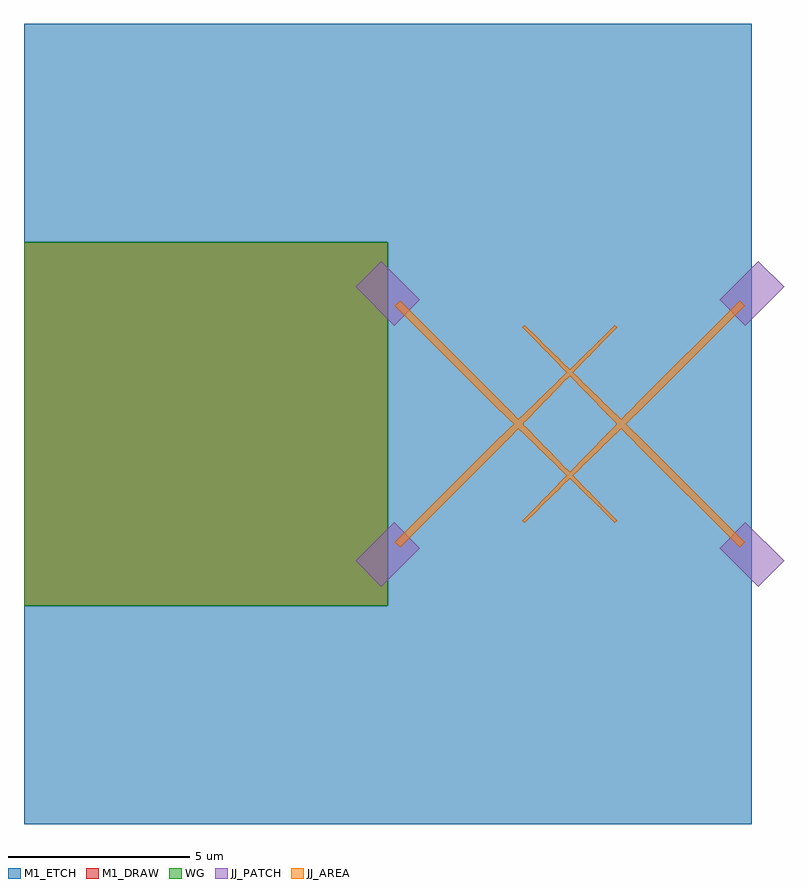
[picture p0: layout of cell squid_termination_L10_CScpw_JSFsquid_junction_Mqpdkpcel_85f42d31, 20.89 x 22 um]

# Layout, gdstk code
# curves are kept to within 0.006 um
from math import pi, radians
import gdstk
lib = gdstk.Library(unit=1e-6, precision=1e-09)
def R(c, l, rs):  # rectangles x0, y0, x1, y1
    for r in rs: c.add(gdstk.rectangle(r[:2], r[2:], *l))
def P(c, l, *ps):  # polygons
    for p in ps: c.add(gdstk.Polygon(p, *l))
M1_DRAW = (1, 0)
M1_ETCH = (1, 1)
JJ_AREA = (20, 0)
JJ_PATCH = (20, 1)
WG = (102, 0)

straight_l10_cscpw_n2 = lib.new_cell('straight_L10_CScpw_N2')
R(straight_l10_cscpw_n2, M1_DRAW, [(0,-5,10,5)])
R(straight_l10_cscpw_n2, M1_ETCH, [(0,-11,10,-5), (0,5,10,11)])
R(straight_l10_cscpw_n2, WG, [(0,-5,10,5)])

straight_l4_csjosephson_ = lib.new_cell('straight_L4_CSjosephson_junction_cross_section_wide_N2')
R(straight_l4_csjosephson_, JJ_AREA, [(0,-0.1,4,0.1)])

taper_cross_section_gdsf = lib.new_cell('taper_cross_section_gdsfactorypcomponentsptapersptaper__1178b345')
P(taper_cross_section_gdsf, JJ_AREA, [(0,-0.1),(0,0.1),(4,0.045),(4,-0.045)])

straight_l0p5_csjosephso = lib.new_cell('straight_L0p5_CSjosephson_junction_cross_section_narrow_N2')
R(straight_l0p5_csjosephso, JJ_AREA, [(0,-0.045,0.5,0.045)])

rectangle_gdsfactorypcom = lib.new_cell('rectangle_gdsfactorypcomponentspshapesprectangle_S1p5_1_4f32cade')
R(rectangle_gdsfactorypcom, JJ_PATCH, [(-0.75,-0.5,0.75,0.5)])

single_josephson_junctio = lib.new_cell('single_josephson_junction_wire_WSL4_NSL0p5_TL4_CSWjosep_de02b853')
single_josephson_junctio.add(gdstk.Reference(straight_l4_csjosephson_, (0,0)))
single_josephson_junctio.add(gdstk.Reference(taper_cross_section_gdsf, (4,0)))
single_josephson_junctio.add(gdstk.Reference(straight_l0p5_csjosephso, (8,0)))
single_josephson_junctio.add(gdstk.Reference(rectangle_gdsfactorypcom, (-0.375,0)))

josephson_junction_jod1p = lib.new_cell('josephson_junction_JOD1p8_WSL4_NSL0p5_TL4_CSWjosephson__0ce5f586')
josephson_junction_jod1p.add(gdstk.Reference(single_josephson_junctio, (8.5,-6.7), rotation=pi/2))
josephson_junction_jod1p.add(gdstk.Reference(single_josephson_junctio, (1.8,0)))

squid_junction_jsfjoseph = lib.new_cell('squid_junction_JSFjosephson_junction_Mqpdkpcellspjuncti_ae4fe4db')
squid_junction_jsfjoseph.add(gdstk.Reference(josephson_junction_jod1p, (0,0)))
squid_junction_jsfjoseph.add(gdstk.Reference(josephson_junction_jod1p, (15,-2), rotation=pi))

c_rectangle_gdsfactorypcom = lib.new_cell('rectangle_gdsfactorypcomponentspshapesprectangle_S10p00_77eda7ea')
R(c_rectangle_gdsfactorypcom, M1_ETCH, [(0,0,10.006,22)])

squid_termination_l10_cs = lib.new_cell('squid_termination_L10_CScpw_JSFsquid_junction_Mqpdkpcel_85f42d31')
squid_termination_l10_cs.add(gdstk.Reference(straight_l10_cscpw_n2, (0,0)))
squid_termination_l10_cs.add(gdstk.Reference(squid_junction_jsfjoseph, (8.992,-4.596), rotation=radians(45)))
squid_termination_l10_cs.add(gdstk.Reference(c_rectangle_gdsfactorypcom, (10,-11)))

lib.write_gds('squid_termination_L10_CScpw_JSFsquid_junction_Mqpdkpcel_85f42d31.gds')
